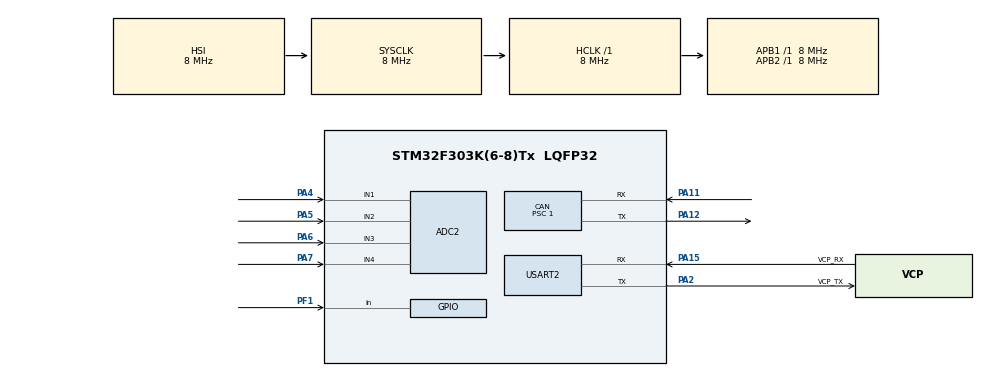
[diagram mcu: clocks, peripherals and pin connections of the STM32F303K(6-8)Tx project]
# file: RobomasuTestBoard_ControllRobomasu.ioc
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ADC2.Channel-0\#ChannelRegularConversion=ADC_CHANNEL_4
ADC2.Channel-1\#ChannelRegularConversion=ADC_CHANNEL_3
ADC2.Channel-2\#ChannelRegularConversion=ADC_CHANNEL_2
ADC2.Channel-3\#ChannelRegularConversion=ADC_CHANNEL_1
ADC2.ClockPrescaler=ADC_CLOCK_SYNC_PCLK_DIV4
ADC2.ContinuousConvMode=ENABLE
ADC2.DMAContinuousRequests=ENABLE
ADC2.DiscontinuousConvMode=DISABLE
ADC2.NbrOfConversion=4
ADC2.NbrOfConversionFlag=1
ADC2.Offset-0\#ChannelRegularConversion=0
ADC2.Offset-1\#ChannelRegularConversion=0
ADC2.Offset-2\#ChannelRegularConversion=0
ADC2.Offset-3\#ChannelRegularConversion=0
ADC2.OffsetNumber-0\#ChannelRegularConversion=ADC_OFFSET_NONE
ADC2.OffsetNumber-1\#ChannelRegularConversion=ADC_OFFSET_NONE
ADC2.OffsetNumber-2\#ChannelRegularConversion=ADC_OFFSET_NONE
ADC2.OffsetNumber-3\#ChannelRegularConversion=ADC_OFFSET_NONE
ADC2.Rank-0\#ChannelRegularConversion=1
ADC2.Rank-1\#ChannelRegularConversion=2
ADC2.Rank-2\#ChannelRegularConversion=3
ADC2.Rank-3\#ChannelRegularConversion=4
ADC2.SamplingTime-0\#ChannelRegularConversion=ADC_SAMPLETIME_61CYCLES_5
ADC2.SamplingTime-1\#ChannelRegularConversion=ADC_SAMPLETIME_61CYCLES_5
ADC2.SamplingTime-2\#ChannelRegularConversion=ADC_SAMPLETIME_61CYCLES_5
ADC2.SamplingTime-3\#ChannelRegularConversion=ADC_SAMPLETIME_61CYCLES_5
ADC2.SamplingTimeOPAMP-1\#ChannelRegularConversion=ADC_SAMPLETIME_4CYCLES_5
ADC2.SamplingTimeOPAMP-2\#ChannelRegularConversion=ADC_SAMPLETIME_4CYCLES_5
ADC2.SamplingTimeOPAMP-3\#ChannelRegularConversion=ADC_SAMPLETIME_4CYCLES_5
CAN.BS1=CAN_BS1_6TQ
CAN.CalculateBaudRate=1000000
CAN.CalculateTimeBit=1000
CAN.CalculateTimeQuantum=125.0
CAN.Prescaler=1
Dma.ADC2.0.Direction=DMA_PERIPH_TO_MEMORY
Dma.ADC2.0.Instance=DMA1_Channel2
Dma.ADC2.0.MemDataAlignment=DMA_MDATAALIGN_HALFWORD
Dma.ADC2.0.MemInc=DMA_MINC_ENABLE
Dma.ADC2.0.Mode=DMA_CIRCULAR
Dma.ADC2.0.PeriphDataAlignment=DMA_PDATAALIGN_HALFWORD
Dma.ADC2.0.PeriphInc=DMA_PINC_DISABLE
Dma.ADC2.0.Priority=DMA_PRIORITY_LOW
Dma.Request0=ADC2
Mcu.Family=STM32F3
Mcu.Name=STM32F303K(6-8)Tx
Mcu.Package=LQFP32
NVIC.CAN_RX0_IRQn=true\:0\:0\:false\:false\:true\:true\:true\:true
NVIC.DMA1_Channel2_IRQn=true\:0\:0\:false\:false\:true\:false\:true\:true
NVIC.PriorityGroup=NVIC_PRIORITYGROUP_4
PA11.Mode=CAN_Activate
PA11.Signal=CAN_RX
PA12.Mode=CAN_Activate
PA12.Signal=CAN_TX
PA13.GPIO_Label=SWDIO
PA13.Mode=Serial_Wire
PA13.Signal=SYS_JTMS-SWDIO
PA14.GPIO_Label=SWCLK
PA14.Mode=Serial_Wire
PA14.Signal=SYS_JTCK-SWCLK
PA15.GPIO_Label=VCP_RX
PA15.Mode=Asynchronous
PA15.Signal=USART2_RX
PA2.GPIO_Label=VCP_TX
PA2.Mode=Asynchronous
PA2.Signal=USART2_TX
PA4.Mode=IN1-Single-Ended
PA4.Signal=ADC2_IN1
PA5.Mode=IN2-Single-Ended
PA5.Signal=ADC2_IN2
PA6.Mode=IN3-Single-Ended
PA6.Signal=ADC2_IN3
PA7.Mode=IN4-Single-Ended
PA7.Signal=ADC2_IN4
PF0\ /\ OSC_IN.GPIO_Label=MCO
PF0\ /\ OSC_IN.Mode=HSE-External-Clock-Source
PF0\ /\ OSC_IN.Signal=RCC_OSC_IN
PF1\ /\ OSC_OUT.Signal=GPIO_Input
ProjectManager.HeapSize=0x200
ProjectManager.StackSize=0x400
ProjectManager.TargetToolchain=STM32CubeIDE
RCC.AHBFreq_Value=8000000
RCC.APB1Freq_Value=8000000
RCC.APB2Freq_Value=8000000
RCC.CortexFreq_Value=8000000
RCC.HSE_VALUE=8000000
RCC.HSI_VALUE=8000000
RCC.SYSCLKFreq_VALUE=8000000
USART2.VirtualMode-Asynchronous=VM_ASYNC
board=NUCLEO-F303K8

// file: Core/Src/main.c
/* USER CODE BEGIN Header */
/**
  ******************************************************************************
  * @file           : main.c
  * @brief          : Main program body
  ******************************************************************************
  * @attention
  *
  * Copyright (c) 2024 STMicroelectronics.
  * All rights reserved.
  *
  * This software is licensed under terms that can be found in the LICENSE file
  * in the root directory of this software component.
  * If no LICENSE file comes with this software, it is provided AS-IS.
  *
  ******************************************************************************
  */
/* USER CODE END Header */
#include "main.h"

ADC_HandleTypeDef hadc2;
DMA_HandleTypeDef hdma_adc2;

CAN_HandleTypeDef hcan;

UART_HandleTypeDef huart2;

/* USER CODE BEGIN PV */
CAN_TxHeaderTypeDef TxHeader;
uint32_t TxMailbox;
uint8_t TxData[8];

CAN_FilterTypeDef filter;
uint32_t id;
uint32_t dlc;
uint8_t data[8];

uint8_t toggle=0;
uint16_t adc_value[4] = {0};
uint16_t now_angle[4] = {0};//0~8191
uint16_t now_speed[4] = {0};
uint16_t now_torque[4] = {0};
uint8_t now_temperature[4] = {0};
int16_t angle_error[4] = {0};
int16_t speed_error[4] = {0};
uint16_t target_angle[4] = {0};
int16_t target_speed[4] = {0};
int16_t torque[4] = {0};
/* USER CODE END PV */

void SystemClock_Config(void);
static void MX_GPIO_Init(void);
static void MX_DMA_Init(void);
static void MX_USART2_UART_Init(void);
static void MX_CAN_Init(void);
static void MX_ADC2_Init(void);
/* USER CODE BEGIN PFP */
void HAL_CAN_RxFifo0MsgPendingCallback(CAN_HandleTypeDef *hcan){
	CAN_RxHeaderTypeDef RxHeader;
	uint8_t RxData[8];
	if(HAL_CAN_GetRxMessage(hcan,CAN_RX_FIFO0,&RxHeader,RxData)==HAL_OK){
		id = (RxHeader.IDE == CAN_ID_STD)? RxHeader.StdId : RxHeader.ExtId;     // ID
		dlc = RxHeader.DLC;                                                     // DLC
		data[0] = RxData[0];                                                    // Data
		data[1] = RxData[1];
		data[2] = RxData[2];
		data[3] = RxData[3];
		data[4] = RxData[4];
		data[5] = RxData[5];
		data[6] = RxData[6];
		data[7] = RxData[7];
		uint8_t port = (id&0x00F)-1;//port::0~3
		now_angle[port] = (data[0]<<8)|(data[1]);
		now_speed[port] = (data[2]<<8)|(data[3]);
		now_torque[port] = (data[4]<<8)|(data[5]);
		now_temperature[port] = data[6];
	}
}

void checkToggle(){
	toggle = HAL_GPIO_ReadPin(GPIOF,GPIO_PIN_1);
}

void setTorque_forAngle(){
	for(uint8_t i = 0 ; i<4 ; i++){
		target_angle[i]=adc_value[i]*2;
		angle_error[i]=target_angle[i]-now_angle[i];
		torque[i] = angle_error[i]/3;
	}
}

void setTorque_forSpeed(){
	for(uint8_t i = 0; i<4; i++){
		target_speed[i]=(adc_value[i]-2048)*4;
		speed_error[i]=target_speed[i]-now_speed[i];
		torque[i] = speed_error[i]/3;
	}
}
/* USER CODE END PFP */

int main(void)
{

  /* MCU Configuration--------------------------------------------------------*/

  /* Reset of all peripherals, Initializes the Flash interface and the Systick. */
  HAL_Init();

  /* Configure the system clock */
  SystemClock_Config();

  /* Initialize all configured peripherals */
  MX_GPIO_Init();
  MX_DMA_Init();
  MX_USART2_UART_Init();
  MX_CAN_Init();
  MX_ADC2_Init();
  /* USER CODE BEGIN 2 */
  TxHeader.StdId = 0x200;
  TxHeader.RTR = CAN_RTR_DATA;
  TxHeader.IDE = CAN_ID_STD;
  TxHeader.DLC = 8;
  TxHeader.TransmitGlobalTime = DISABLE;

  uint32_t fId   =  0x200 << 21;        // フィルターID
  uint32_t fMask = (0x7F0 << 21) | 0x4; // フィルターマスク

  filter.FilterIdHigh         = fId >> 16;             // フィルターIDの上位16ビット
  filter.FilterIdLow          = fId;                   // フィルターIDの下位16ビット
  filter.FilterMaskIdHigh     = fMask >> 16;           // フィルターマスクの上位16ビット
  filter.FilterMaskIdLow      = fMask;                 // フィルターマスクの下位16ビット
  filter.FilterScale          = CAN_FILTERSCALE_32BIT; // 32モード
  filter.FilterFIFOAssignment = CAN_FILTER_FIFO0;      // FIFO0へ格納
  filter.FilterBank           = 0;
  filter.FilterMode           = CAN_FILTERMODE_IDMASK; // IDマスクモード
  filter.SlaveStartFilterBank = 14;
  filter.FilterActivation     = ENABLE;

  HAL_CAN_ConfigFilter(&hcan, &filter);

  HAL_CAN_ActivateNotification(&hcan,CAN_IT_RX_FIFO0_MSG_PENDING);
  HAL_CAN_Start(&hcan);

  HAL_ADCEx_Calibration_Start(&hadc2, ADC_SINGLE_ENDED);

  HAL_ADC_Start_DMA(&hadc2, (uint32_t *)&adc_value, 4);
  /* USER CODE END 2 */

  /* Infinite loop */
  /* USER CODE BEGIN WHILE */
  while (1)
  {
	  checkToggle();

	  if(toggle == 1){
		  setTorque_forAngle();
	  }else{
		  setTorque_forSpeed();
	  }

	  if(0<HAL_CAN_GetTxMailboxesFreeLevel(&hcan)){
		  TxData[0] = (torque[0]&0xFF00)>>8;
  		  TxData[1] = torque[0]&0x00FF;
		  TxData[2] = (torque[1]&0xFF00)>>8;
		  TxData[3] = torque[1]&0x00FF;
		  TxData[4] = (torque[2]&0xFF00)>>8;
		  TxData[5] = torque[2]&0x00FF;
		  TxData[6] = (torque[3]&0xFF00)>>8;
		  TxData[7] = torque[3]&0x00FF;
		  HAL_CAN_AddTxMessage(&hcan,&TxHeader,TxData,&TxMailbox);
	  }
	  HAL_Delay(50);
    /* USER CODE END WHILE */

  }
}

void SystemClock_Config(void)
{
  RCC_OscInitTypeDef RCC_OscInitStruct = {0};
  RCC_ClkInitTypeDef RCC_ClkInitStruct = {0};

  /** Initializes the RCC Oscillators according to the specified parameters
  * in the RCC_OscInitTypeDef structure.
  */
  RCC_OscInitStruct.OscillatorType = RCC_OSCILLATORTYPE_HSI;
  RCC_OscInitStruct.HSIState = RCC_HSI_ON;
  RCC_OscInitStruct.HSICalibrationValue = RCC_HSICALIBRATION_DEFAULT;
  RCC_OscInitStruct.PLL.PLLState = RCC_PLL_NONE;
  if (HAL_RCC_OscConfig(&RCC_OscInitStruct) != HAL_OK)
  {
    Error_Handler();
  }

  /** Initializes the CPU, AHB and APB buses clocks
  */
  RCC_ClkInitStruct.ClockType = RCC_CLOCKTYPE_HCLK|RCC_CLOCKTYPE_SYSCLK
                              |RCC_CLOCKTYPE_PCLK1|RCC_CLOCKTYPE_PCLK2;
  RCC_ClkInitStruct.SYSCLKSource = RCC_SYSCLKSOURCE_HSI;
  RCC_ClkInitStruct.AHBCLKDivider = RCC_SYSCLK_DIV1;
  RCC_ClkInitStruct.APB1CLKDivider = RCC_HCLK_DIV1;
  RCC_ClkInitStruct.APB2CLKDivider = RCC_HCLK_DIV1;

  if (HAL_RCC_ClockConfig(&RCC_ClkInitStruct, FLASH_LATENCY_0) != HAL_OK)
  {
    Error_Handler();
  }
}

static void MX_ADC2_Init(void)
{

  ADC_ChannelConfTypeDef sConfig = {0};

  /** Common config
  */
  hadc2.Instance = ADC2;
  hadc2.Init.ClockPrescaler = ADC_CLOCK_SYNC_PCLK_DIV4;
  hadc2.Init.Resolution = ADC_RESOLUTION_12B;
  hadc2.Init.ScanConvMode = ADC_SCAN_ENABLE;
  hadc2.Init.ContinuousConvMode = ENABLE;
  hadc2.Init.DiscontinuousConvMode = DISABLE;
  hadc2.Init.ExternalTrigConvEdge = ADC_EXTERNALTRIGCONVEDGE_NONE;
  hadc2.Init.ExternalTrigConv = ADC_SOFTWARE_START;
  hadc2.Init.DataAlign = ADC_DATAALIGN_RIGHT;
  hadc2.Init.NbrOfConversion = 4;
  hadc2.Init.DMAContinuousRequests = ENABLE;
  hadc2.Init.EOCSelection = ADC_EOC_SINGLE_CONV;
  hadc2.Init.LowPowerAutoWait = DISABLE;
  hadc2.Init.Overrun = ADC_OVR_DATA_OVERWRITTEN;
  if (HAL_ADC_Init(&hadc2) != HAL_OK)
  {
    Error_Handler();
  }

  /** Configure Regular Channel
  */
  sConfig.Channel = ADC_CHANNEL_4;
  sConfig.Rank = ADC_REGULAR_RANK_1;
  sConfig.SingleDiff = ADC_SINGLE_ENDED;
  sConfig.SamplingTime = ADC_SAMPLETIME_61CYCLES_5;
  sConfig.OffsetNumber = ADC_OFFSET_NONE;
  sConfig.Offset = 0;
  if (HAL_ADC_ConfigChannel(&hadc2, &sConfig) != HAL_OK)
  {
    Error_Handler();
  }

  /** Configure Regular Channel
  */
  sConfig.Channel = ADC_CHANNEL_3;
  sConfig.Rank = ADC_REGULAR_RANK_2;
  if (HAL_ADC_ConfigChannel(&hadc2, &sConfig) != HAL_OK)
  {
    Error_Handler();
  }

  /** Configure Regular Channel
  */
  sConfig.Channel = ADC_CHANNEL_2;
  sConfig.Rank = ADC_REGULAR_RANK_3;
  if (HAL_ADC_ConfigChannel(&hadc2, &sConfig) != HAL_OK)
  {
    Error_Handler();
  }

  /** Configure Regular Channel
  */
  sConfig.Channel = ADC_CHANNEL_1;
  sConfig.Rank = ADC_REGULAR_RANK_4;
  if (HAL_ADC_ConfigChannel(&hadc2, &sConfig) != HAL_OK)
  {
    Error_Handler();
  }

}

static void MX_CAN_Init(void)
{

  hcan.Instance = CAN;
  hcan.Init.Prescaler = 1;
  hcan.Init.Mode = CAN_MODE_NORMAL;
  hcan.Init.SyncJumpWidth = CAN_SJW_1TQ;
  hcan.Init.TimeSeg1 = CAN_BS1_6TQ;
  hcan.Init.TimeSeg2 = CAN_BS2_1TQ;
  hcan.Init.TimeTriggeredMode = DISABLE;
  hcan.Init.AutoBusOff = DISABLE;
  hcan.Init.AutoWakeUp = DISABLE;
  hcan.Init.AutoRetransmission = DISABLE;
  hcan.Init.ReceiveFifoLocked = DISABLE;
  hcan.Init.TransmitFifoPriority = DISABLE;
  if (HAL_CAN_Init(&hcan) != HAL_OK)
  {
    Error_Handler();
  }

}

static void MX_USART2_UART_Init(void)
{

  huart2.Instance = USART2;
  huart2.Init.BaudRate = 38400;
  huart2.Init.WordLength = UART_WORDLENGTH_8B;
  huart2.Init.StopBits = UART_STOPBITS_1;
  huart2.Init.Parity = UART_PARITY_NONE;
  huart2.Init.Mode = UART_MODE_TX_RX;
  huart2.Init.HwFlowCtl = UART_HWCONTROL_NONE;
  huart2.Init.OverSampling = UART_OVERSAMPLING_16;
  huart2.Init.OneBitSampling = UART_ONE_BIT_SAMPLE_DISABLE;
  huart2.AdvancedInit.AdvFeatureInit = UART_ADVFEATURE_NO_INIT;
  if (HAL_UART_Init(&huart2) != HAL_OK)
  {
    Error_Handler();
  }

}

static void MX_DMA_Init(void)
{

  /* DMA controller clock enable */
  __HAL_RCC_DMA1_CLK_ENABLE();

  /* DMA interrupt init */
  /* DMA1_Channel2_IRQn interrupt configuration */
  HAL_NVIC_SetPriority(DMA1_Channel2_IRQn, 0, 0);
  HAL_NVIC_EnableIRQ(DMA1_Channel2_IRQn);

}

static void MX_GPIO_Init(void)
{
  GPIO_InitTypeDef GPIO_InitStruct = {0};

  /* GPIO Ports Clock Enable */
  __HAL_RCC_GPIOF_CLK_ENABLE();
  __HAL_RCC_GPIOA_CLK_ENABLE();

  /*Configure GPIO pin : PF1 */
  GPIO_InitStruct.Pin = GPIO_PIN_1;
  GPIO_InitStruct.Mode = GPIO_MODE_INPUT;
  GPIO_InitStruct.Pull = GPIO_NOPULL;
  HAL_GPIO_Init(GPIOF, &GPIO_InitStruct);

}

void Error_Handler(void)
{
  __disable_irq();
  while (1)
  {
  }
}
